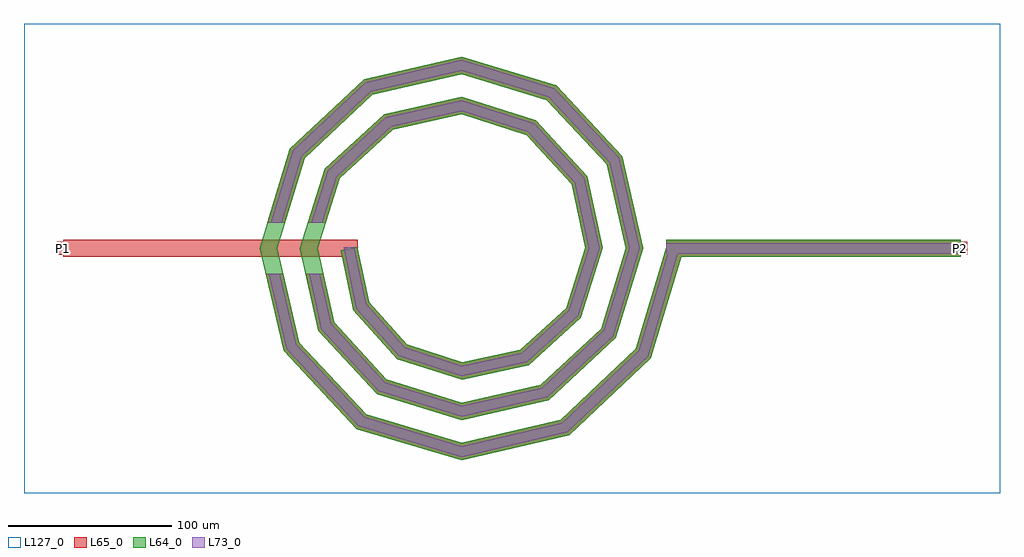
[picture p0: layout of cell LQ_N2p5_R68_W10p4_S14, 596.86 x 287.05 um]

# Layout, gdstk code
import gdstk
lib = gdstk.Library(unit=1e-6, precision=1e-09)
def R(c, l, rs):  # rectangles x0, y0, x1, y1
    for r in rs: c.add(gdstk.rectangle(r[:2], r[2:], *l))
def P(c, l, *ps):  # polygons
    for p in ps: c.add(gdstk.Polygon(p, *l))
L64_0 = (64, 0)
L65_0 = (65, 0)
L73_0 = (73, 0)
L127_0 = (127, 0)

lq_n2p5_r68_w10p4_s14 = lib.new_cell('LQ_N2p5_R68_W10p4_S14')
R(lq_n2p5_r68_w10p4_s14, L64_0, [(125.282,-5.2,305.282,5.2)])
P(lq_n2p5_r68_w10p4_s14, L64_0, [(-56.545,-32.983),(-33.513,-58.613),(0.275,-69.574),(36.047,-61.899),(63.945,-36.617),(75.743,0.254),(67.252,39.115),(39.718,69.278),(0.237,81.912),(-42.185,72.604),(-74.613,42.817),(-88.082,0.221),(-77.954,-45.256),(-45.914,-79.949),(0.207,-94.251),(48.33,-83.304),(85.286,-49.01),(100.421,0.195),(88.653,51.405),(52.104,90.623),(0.184,106.591),(-54.481,94.001),(-95.961,55.198),(-112.761,0.175),(-99.349,-57.557),(-58.291,-101.3),(0.166,-118.93),(60.635,-104.696),(106.639,-61.383),(125.501,1.494),(135.463,-1.494),(115.799,-67.042),(65.733,-114.18),(0.166,-129.693),(-63.964,-110.452),(-108.841,-62.641),(-123.523,0.175),(-105.104,60.887),(-59.548,103.502),(0.184,117.352),(57.81,99.755),(98.163,56.454),(111.182,0.195),(94.406,-54.735),(53.358,-92.825),(0.207,-105.011),(-51.661,-89.055),(-87.488,-50.262),(-98.841,0.221),(-83.705,48.588),(-47.163,82.152),(0.237,92.67),(45.516,78.352),(76.816,44.063),(86.499,0.254),(72.999,-42.447),(40.961,-71.482),(0.275,-80.329),(-39.381,-67.644),(-66.149,-37.855),(-73.87,-1.068),(-63.692,1.068)])
R(lq_n2p5_r68_w10p4_s14, L65_0, [(-243.581,-5.2,-63.581,5.2), (125.282,-5.2,305.282,5.2), (-247.581,-4,-239.581,4), (301.282,-4,309.282,4)])
P(lq_n2p5_r68_w10p4_s14, L65_0, [(-99.349,-57.557),(-58.291,-101.3),(0.166,-118.93),(60.635,-104.696),(106.639,-61.383),(125.501,1.494),(135.463,-1.494),(115.799,-67.043),(65.733,-114.18),(0.166,-129.693),(-63.964,-110.452),(-108.841,-62.641),(-119.836,-15.6),(-109.155,-15.6)],
  [(-77.954,-45.256),(-45.914,-79.949),(0.207,-94.251),(48.33,-83.304),(85.286,-49.01),(100.421,0.195),(88.653,51.405),(52.104,90.623),(0.184,106.591),(-54.481,94.001),(-95.961,55.198),(-107.975,15.6),(-118.843,15.6),(-105.104,60.887),(-59.548,103.502),(0.184,117.352),(57.811,99.755),(98.163,56.454),(111.182,0.195),(94.406,-54.735),(53.358,-92.825),(0.207,-105.011),(-51.661,-89.056),(-87.488,-50.262),(-95.283,-15.6),(-84.623,-15.6)],
  [(-33.514,-58.613),(0.275,-69.574),(36.047,-61.9),(63.945,-36.617),(75.743,0.255),(67.252,39.115),(39.718,69.278),(0.237,81.912),(-42.185,72.604),(-74.613,42.817),(-83.131,15.6),(-94.028,15.6),(-83.705,48.588),(-47.164,82.152),(0.237,92.67),(45.517,78.352),(76.816,44.063),(86.5,0.255),(72.999,-42.447),(40.961,-71.482),(0.275,-80.329),(-39.381,-67.644),(-66.149,-37.855),(-73.87,-1.068),(-63.692,1.068),(-56.545,-32.983)])
R(lq_n2p5_r68_w10p4_s14, L73_0, [(125.282,-3.2,305.282,3.2)])
P(lq_n2p5_r68_w10p4_s14, L73_0, [(-101.174,-58.535),(-59.382,-103.06),(0.102,-121),(61.616,-106.52),(108.401,-62.471),(127.417,0.92),(133.547,0.92),(114.038,-65.954),(64.753,-112.356),(0.102,-127.623),(-62.873,-108.692),(-107.015,-61.663),(-117.782,-15.6),(-111.209,-15.6)],
  [(-79.788,-46.219),(-47.019,-81.7),(0.128,-96.321),(49.297,-85.135),(87.04,-50.111),(102.491,0.12),(90.482,52.376),(53.202,92.379),(0.114,108.66),(-55.455,95.828),(-97.72,56.292),(-110.065,15.6),(-116.753,15.6),(-103.346,59.793),(-58.573,101.675),(0.114,115.283),(56.713,97.999),(96.334,55.483),(109.113,0.12),(92.652,-53.634),(52.391,-90.994),(0.128,-102.942),(-50.556,-87.304),(-85.655,-49.299),(-93.233,-15.6),(-86.673,-15.6)],
  [(-34.642,-60.35),(0.17,-71.642),(36.992,-63.742),(65.686,-37.738),(77.812,0.157),(69.091,40.066),(40.833,71.023),(0.146,83.981),(-43.142,74.44),(-76.361,43.927),(-85.226,15.6),(-91.932,15.6),(-81.956,47.478),(-46.206,80.316),(0.146,90.601),(44.401,76.607),(74.977,43.112),(84.431,0.157),(71.258,-41.326),(40.016,-69.639),(0.17,-78.26),(-38.253,-65.907),(-64.302,-36.918),(-71.913,0.657),(-65.649,0.657),(-58.392,-33.92)])
R(lq_n2p5_r68_w10p4_s14, L127_0, [(-267.581,-149.693,329.282,137.352)])
lq_n2p5_r68_w10p4_s14.add(gdstk.Label('P2', (305.282,0), layer=65, texttype=0))
lq_n2p5_r68_w10p4_s14.add(gdstk.Label('P1', (-243.581,0), layer=65, texttype=0))
lq_n2p5_r68_w10p4_s14.add(gdstk.Label('P2', (309.282,0), layer=145, texttype=0))
lq_n2p5_r68_w10p4_s14.add(gdstk.Label('P1', (-247.581,0), layer=145, texttype=0))

lib.write_gds('LQ_N2p5_R68_W10p4_S14.gds')
